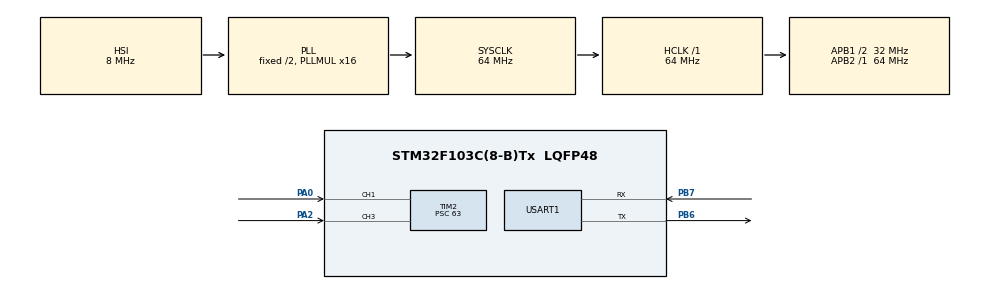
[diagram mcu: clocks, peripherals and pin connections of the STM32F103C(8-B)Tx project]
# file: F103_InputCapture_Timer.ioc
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Mcu.Family=STM32F1
Mcu.Name=STM32F103C(8-B)Tx
Mcu.Package=LQFP48
NVIC.PriorityGroup=NVIC_PRIORITYGROUP_4
NVIC.TIM2_IRQn=true\:0\:0\:false\:false\:true\:true\:true\:true
NVIC.USART1_IRQn=true\:0\:0\:false\:false\:true\:true\:true\:true
PA0-WKUP.GPIO_PuPd=GPIO_NOPULL
PA0-WKUP.Signal=S_TIM2_CH1_ETR
PA13.Mode=Serial_Wire
PA13.Signal=SYS_JTMS-SWDIO
PA14.Mode=Serial_Wire
PA14.Signal=SYS_JTCK-SWCLK
PA2.GPIO_PuPd=GPIO_NOPULL
PA2.Signal=S_TIM2_CH3
PB6.Mode=Asynchronous
PB6.Signal=USART1_TX
PB7.Mode=Asynchronous
PB7.Signal=USART1_RX
PC14-OSC32_IN.Mode=LSE-External-Oscillator
PC14-OSC32_IN.Signal=RCC_OSC32_IN
PC15-OSC32_OUT.Mode=LSE-External-Oscillator
PC15-OSC32_OUT.Signal=RCC_OSC32_OUT
PD0-OSC_IN.Mode=HSE-External-Oscillator
PD0-OSC_IN.Signal=RCC_OSC_IN
PD1-OSC_OUT.Mode=HSE-External-Oscillator
PD1-OSC_OUT.Signal=RCC_OSC_OUT
ProjectManager.HeapSize=0x200
ProjectManager.StackSize=0x400
ProjectManager.TargetToolchain=STM32CubeIDE
RCC.AHBFreq_Value=64000000
RCC.APB1CLKDivider=RCC_HCLK_DIV2
RCC.APB1Freq_Value=32000000
RCC.APB1TimFreq_Value=64000000
RCC.APB2Freq_Value=64000000
RCC.APB2TimFreq_Value=64000000
RCC.HCLKFreq_Value=64000000
RCC.PLLMUL=RCC_PLL_MUL16
RCC.SYSCLKFreq_VALUE=64000000
RCC.SYSCLKSource=RCC_SYSCLKSOURCE_PLLCLK
RCC.USBFreq_Value=64000000
SH.S_TIM2_CH1_ETR.0=TIM2_CH1,Input_Capture1_from_TI1
SH.S_TIM2_CH3.0=TIM2_CH3,Input_Capture3_from_TI3
TIM2.Channel-Input_Capture1_from_TI1=TIM_CHANNEL_1
TIM2.Channel-Input_Capture2_from_TI1_63=TIM_CHANNEL_2
TIM2.Channel-Input_Capture3_from_TI3=TIM_CHANNEL_3
TIM2.Channel-Input_Capture4_from_TI3_63=TIM_CHANNEL_4
TIM2.ICFilter_CH1=15
TIM2.ICFilter_CH3=15
TIM2.ICPolarity_CH2=TIM_INPUTCHANNELPOLARITY_FALLING
TIM2.ICPolarity_CH4=TIM_INPUTCHANNELPOLARITY_FALLING
TIM2.Period=65535
TIM2.Prescaler=63
USART1.VirtualMode=VM_ASYNC
VP_TIM2_VS_ClockSourceINT.Mode=Internal
VP_TIM2_VS_indirect_ch1.Mode=Input_Capture2_from_TI1_63
VP_TIM2_VS_indirect_ch3.Mode=Input_Capture4_from_TI3_63
board=custom

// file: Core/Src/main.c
/* USER CODE BEGIN Header */
/**
  ******************************************************************************
  * @file           : main.c
  * @brief          : Main program body
  ******************************************************************************
  * @attention
  *
  * Copyright (c) 2023 STMicroelectronics.
  * All rights reserved.
  *
  * This software is licensed under terms that can be found in the LICENSE file
  * in the root directory of this software component.
  * If no LICENSE file comes with this software, it is provided AS-IS.
  *
  ******************************************************************************
  */
/* USER CODE END Header */
#include "main.h"
#include "tim.h"
#include "usart.h"
#include "gpio.h"

/* USER CODE BEGIN Includes */
#include "stdio.h"
#include "string.h"
/* USER CODE END Includes */

/* USER CODE BEGIN PV */
volatile uint16_t start1 = 0, end_imp1 = 0, end_per1 = 0, start2 = 0, end_imp2 = 0, end_per2 = 0;
volatile uint16_t period1 = 0, fill_factor1 = 0, long_imp1 = 0, period2 = 0, fill_factor2 = 0, long_imp2 = 0;
volatile uint16_t freq1 = 0, freq2 = 0;
volatile uint8_t  flag_IC = 0;
/* USER CODE END PV */

void SystemClock_Config(void);

int main(void)
{

  /* MCU Configuration--------------------------------------------------------*/

  /* Reset of all peripherals, Initializes the Flash interface and the Systick. */
  HAL_Init();

  /* Configure the system clock */
  SystemClock_Config();

  /* Initialize all configured peripherals */
  MX_GPIO_Init();
  MX_USART1_UART_Init();
  MX_TIM2_Init();
  /* USER CODE BEGIN 2 */
	HAL_TIM_IC_Start_IT(&htim2, TIM_CHANNEL_1);
	HAL_TIM_IC_Start_IT(&htim2, TIM_CHANNEL_2);
	HAL_TIM_IC_Start_IT(&htim2, TIM_CHANNEL_3);
	HAL_TIM_IC_Start_IT(&htim2, TIM_CHANNEL_4);
	uint8_t buff[80] = {0,};
  /* USER CODE END 2 */

  /* Infinite loop */
  /* USER CODE BEGIN WHILE */
  while (1)
  {
	if(flag_IC == 1)
	{
		CALC_FREQ();
		snprintf(buff, 80, "Freq 1 = %d fill_factor 1 = %d  Freq 2 = %d fill_factor 2 = %d\r\n", freq1, fill_factor1, freq2, fill_factor2);
		HAL_UART_Transmit_IT(&huart1, buff, strlen(buff));
		HAL_Delay(500);
		flag_IC = 0;
	}
    /* USER CODE END WHILE */

  }
}

void SystemClock_Config(void)
{
  RCC_OscInitTypeDef RCC_OscInitStruct = {0};
  RCC_ClkInitTypeDef RCC_ClkInitStruct = {0};

  /** Initializes the RCC Oscillators according to the specified parameters
  * in the RCC_OscInitTypeDef structure.
  */
  RCC_OscInitStruct.OscillatorType = RCC_OSCILLATORTYPE_HSI;
  RCC_OscInitStruct.HSIState = RCC_HSI_ON;
  RCC_OscInitStruct.HSICalibrationValue = RCC_HSICALIBRATION_DEFAULT;
  RCC_OscInitStruct.PLL.PLLState = RCC_PLL_ON;
  RCC_OscInitStruct.PLL.PLLSource = RCC_PLLSOURCE_HSI_DIV2;
  RCC_OscInitStruct.PLL.PLLMUL = RCC_PLL_MUL16;
  if (HAL_RCC_OscConfig(&RCC_OscInitStruct) != HAL_OK)
  {
    Error_Handler();
  }

  /** Initializes the CPU, AHB and APB buses clocks
  */
  RCC_ClkInitStruct.ClockType = RCC_CLOCKTYPE_HCLK|RCC_CLOCKTYPE_SYSCLK
                              |RCC_CLOCKTYPE_PCLK1|RCC_CLOCKTYPE_PCLK2;
  RCC_ClkInitStruct.SYSCLKSource = RCC_SYSCLKSOURCE_PLLCLK;
  RCC_ClkInitStruct.AHBCLKDivider = RCC_SYSCLK_DIV1;
  RCC_ClkInitStruct.APB1CLKDivider = RCC_HCLK_DIV2;
  RCC_ClkInitStruct.APB2CLKDivider = RCC_HCLK_DIV1;

  if (HAL_RCC_ClockConfig(&RCC_ClkInitStruct, FLASH_LATENCY_2) != HAL_OK)
  {
    Error_Handler();
  }
}

/* USER CODE BEGIN 4 */
/*----------------------------------------------------------------------------*/
void HAL_TIM_IC_CaptureCallback(TIM_HandleTypeDef *htim)
{
	if (htim->Instance == TIM2)
	{
		if(htim->Channel == HAL_TIM_ACTIVE_CHANNEL_1)
		{
			start1 = end_per1;
			end_per1 = HAL_TIM_ReadCapturedValue(&htim2, TIM_CHANNEL_1);
			end_imp1 = HAL_TIM_ReadCapturedValue(&htim2, TIM_CHANNEL_2);
		}
		if(htim->Channel == HAL_TIM_ACTIVE_CHANNEL_3)
		{
			start2 = end_per2;
			end_per2 = HAL_TIM_ReadCapturedValue(&htim2, TIM_CHANNEL_3);
			end_imp2 = HAL_TIM_ReadCapturedValue(&htim2, TIM_CHANNEL_4);
		}
		flag_IC = 1;
	}
}

/*----------------------------------------------------------------------------*/
void CALC_FREQ (void)
{
	// длительность периода в импульсах (1 импульс = 1 мкс)
	if (end_per1 > start1)                          	                       // Все три точки были в одном периоде таймера
	{
		period1 = end_per1 - start1;
		long_imp1 = end_imp1 - start1;
		if (period1 > 0)
		{
			freq1 = 1000000 / period1;
			fill_factor1 = (long_imp1 * 100) / period1;
		}
	}
	if (end_per2 > start2)
	{
		period2 = end_per2 - start2;
		long_imp2 = end_imp2 - start2;
		if (period2 > 0)
		{
			freq2 = 1000000 / period2;
			fill_factor2 = (long_imp2 * 100) / period2;
		}
	}
}

/* USER CODE END 4 */

void Error_Handler(void)
{
  __disable_irq();
  while (1)
  {
  }
}
